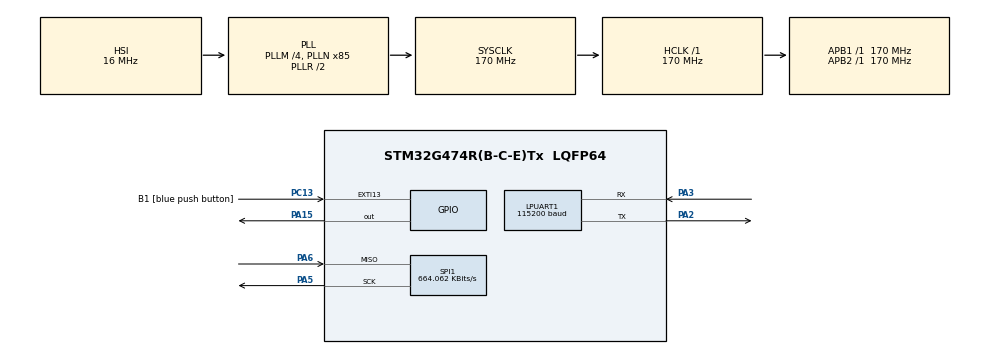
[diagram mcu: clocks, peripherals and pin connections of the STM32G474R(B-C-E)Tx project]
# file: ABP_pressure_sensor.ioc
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LPUART1.BaudRate=115200
Mcu.Family=STM32G4
Mcu.Name=STM32G474R(B-C-E)Tx
Mcu.Package=LQFP64
NVIC.EXTI15_10_IRQn=true\:0\:0\:false\:false\:true\:true\:true\:true
NVIC.PriorityGroup=NVIC_PRIORITYGROUP_4
PA13.GPIO_Label=T_SWDIO
PA13.Signal=SYS_JTMS-SWDIO
PA14.GPIO_Label=T_SWCLK
PA14.Signal=SYS_JTCK-SWCLK
PA15.Signal=GPIO_Output
PA2.Mode=Asynchronous
PA2.Signal=LPUART1_TX
PA3.Mode=Asynchronous
PA3.Signal=LPUART1_RX
PA5.Mode=RX_Only_Simplex_Unidirect_Master
PA5.Signal=SPI1_SCK
PA6.Mode=RX_Only_Simplex_Unidirect_Master
PA6.Signal=SPI1_MISO
PC13.GPIO_Label=B1 [blue push button]
PC13.Signal=GPXTI13
PC14-OSC32_IN.Signal=RCC_OSC32_IN
PC15-OSC32_OUT.Signal=RCC_OSC32_OUT
PF0-OSC_IN.Signal=RCC_OSC_IN
PF1-OSC_OUT.Signal=RCC_OSC_OUT
ProjectManager.HeapSize=0x200
ProjectManager.StackSize=0x400
ProjectManager.TargetToolchain=STM32CubeIDE
RCC.ADC12Freq_Value=170000000
RCC.ADC345Freq_Value=170000000
RCC.AHBFreq_Value=170000000
RCC.APB1Freq_Value=170000000
RCC.APB1TimFreq_Value=170000000
RCC.APB2Freq_Value=170000000
RCC.APB2TimFreq_Value=170000000
RCC.CortexFreq_Value=170000000
RCC.EXTERNAL_CLOCK_VALUE=12288000
RCC.HCLKFreq_Value=170000000
RCC.HSE_VALUE=24000000
RCC.HSI48_VALUE=48000000
RCC.HSI_VALUE=16000000
RCC.LSE_VALUE=32768
RCC.PLLM=RCC_PLLM_DIV4
RCC.PLLN=85
RCC.RTCClockSelection=RCC_RTCCLKSOURCE_LSE
RCC.SYSCLKFreq_VALUE=170000000
RCC.SYSCLKSource=RCC_SYSCLKSOURCE_PLLCLK
RCC.USBFreq_Value=170000000
RCC.VCOOutputFreq_Value=340000000
SPI1.BaudRatePrescaler=SPI_BAUDRATEPRESCALER_256
SPI1.CalculateBaudRate=664.062 KBits/s
SPI1.DataSize=SPI_DATASIZE_8BIT
SPI1.Direction=SPI_DIRECTION_2LINES_RXONLY
SPI1.Mode=SPI_MODE_MASTER
SPI1.NSSPMode=SPI_NSS_PULSE_DISABLE
SPI1.VirtualType=VM_MASTER
VP_SYS_VS_DBSignals.Mode=DisableDeadBatterySignals
board=NUCLEO-G474RE

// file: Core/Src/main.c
/* USER CODE BEGIN Header */
/**
  ******************************************************************************
  * @file           : main.c
  * @brief          : Main program body
  ******************************************************************************
  * @attention
  *
  * Copyright (c) 2024 STMicroelectronics.
  * All rights reserved.
  *
  * This software is licensed under terms that can be found in the LICENSE file
  * in the root directory of this software component.
  * If no LICENSE file comes with this software, it is provided AS-IS.
  *
  ******************************************************************************
  */
/* USER CODE END Header */
#include "main.h"

/* USER CODE BEGIN Includes */
#include <stdio.h>
#include <string.h> // Include for strlen()

/* USER CODE END Includes */

UART_HandleTypeDef hlpuart1;

SPI_HandleTypeDef hspi1;

void SystemClock_Config(void);
static void MX_GPIO_Init(void);
static void MX_SPI1_Init(void);
static void MX_LPUART1_UART_Init(void);
/* USER CODE BEGIN PFP */

double TF(uint16_t data); //transfer function

/* USER CODE END PFP */

/* USER CODE BEGIN 0 */

double pressure_psi = 0.0; //pressure value in psi
double pressure_bar = 0.0; //pressure value in bar
uint8_t sensor_data[2]; //SPI output from sensor data
uint16_t data = 0x0000; //16 bit data

int fputc(int ch, FILE *f)
{
    HAL_UART_Transmit(&hlpuart1, (unsigned char *)&ch, 1, 100);
    return ch;
}

/* USER CODE END 0 */

int main(void)
{

  /* MCU Configuration--------------------------------------------------------*/

  /* Reset of all peripherals, Initializes the Flash interface and the Systick. */
  HAL_Init();

  /* Configure the system clock */
  SystemClock_Config();

  /* Initialize all configured peripherals */
  MX_GPIO_Init();
  MX_SPI1_Init();
  MX_LPUART1_UART_Init();
  /* USER CODE BEGIN 2 */
  HAL_Delay(1000); // Delay for sensor stability

  char buff1[100];
  char buff2[100];

  sprintf(buff1,"Pressure Sensor Demo: ABPDANV150PGSA3, 0 to 150 psi, 10 per to 90 per of total value, No tempurature\n");
  HAL_UART_Transmit(&hlpuart1, (uint8_t *)buff1, strlen(buff1), HAL_MAX_DELAY); //print loaded string

  HAL_GPIO_WritePin(GPIOA, GPIO_PIN_15, GPIO_PIN_SET); // Set SS line HIGH

  sensor_data[0] = 0x00;
  sensor_data[1] = 0x00;

  /* USER CODE END 2 */

  /* Infinite loop */
  while (1)
  {

    /* USER CODE BEGIN 3 */

	  HAL_Delay(10);
	  HAL_GPIO_WritePin(GPIOA, GPIO_PIN_15, GPIO_PIN_RESET); // set SS Low
	  //HAL_SPI_Transmit(&hspi1, 0x00, 1, HAL_MAX_DELAY);      // send Read Command
	  //HAL_GPIO_WritePin(GPIOB, GPIO_PIN_6, GPIO_PIN_SET);   // set SS High
	  //HAL_Delay(10);
	  //printf("checkpoint 1\n");
	  //HAL_GPIO_WritePin(GPIOA, GPIO_PIN_15, GPIO_PIN_RESET); // set SS Low
	  HAL_SPI_Receive(&hspi1, sensor_data, 2, HAL_MAX_DELAY); // Receive sensor data
	  //printf("checkpoint 2\n");
	  HAL_GPIO_WritePin(GPIOA, GPIO_PIN_15, GPIO_PIN_SET); // set SS High
	  //printf("checkpoint 3\n");

	  data = sensor_data[0]*256 + sensor_data[1];

	  pressure_psi = TF(data);
	  pressure_bar = pressure_psi*0.0689476;

	  sprintf(buff2,"data[0]=%02X,data[1]=%02X,sensor_output=%02X, Pressure= %lf psi,Pressure(bar)= %lf bar\n\n",sensor_data[0],sensor_data[1],data,pressure_psi,pressure_bar);

	  HAL_UART_Transmit(&hlpuart1, (uint8_t *)buff2, strlen(buff2), HAL_MAX_DELAY); //print loaded string

  }
  /* USER CODE END 3 */
}

void SystemClock_Config(void)
{
  RCC_OscInitTypeDef RCC_OscInitStruct = {0};
  RCC_ClkInitTypeDef RCC_ClkInitStruct = {0};

  /** Configure the main internal regulator output voltage
  */
  HAL_PWREx_ControlVoltageScaling(PWR_REGULATOR_VOLTAGE_SCALE1_BOOST);

  /** Initializes the RCC Oscillators according to the specified parameters
  * in the RCC_OscInitTypeDef structure.
  */
  RCC_OscInitStruct.OscillatorType = RCC_OSCILLATORTYPE_HSI;
  RCC_OscInitStruct.HSIState = RCC_HSI_ON;
  RCC_OscInitStruct.HSICalibrationValue = RCC_HSICALIBRATION_DEFAULT;
  RCC_OscInitStruct.PLL.PLLState = RCC_PLL_ON;
  RCC_OscInitStruct.PLL.PLLSource = RCC_PLLSOURCE_HSI;
  RCC_OscInitStruct.PLL.PLLM = RCC_PLLM_DIV4;
  RCC_OscInitStruct.PLL.PLLN = 85;
  RCC_OscInitStruct.PLL.PLLP = RCC_PLLP_DIV2;
  RCC_OscInitStruct.PLL.PLLQ = RCC_PLLQ_DIV2;
  RCC_OscInitStruct.PLL.PLLR = RCC_PLLR_DIV2;
  if (HAL_RCC_OscConfig(&RCC_OscInitStruct) != HAL_OK)
  {
    Error_Handler();
  }

  /** Initializes the CPU, AHB and APB buses clocks
  */
  RCC_ClkInitStruct.ClockType = RCC_CLOCKTYPE_HCLK|RCC_CLOCKTYPE_SYSCLK
                              |RCC_CLOCKTYPE_PCLK1|RCC_CLOCKTYPE_PCLK2;
  RCC_ClkInitStruct.SYSCLKSource = RCC_SYSCLKSOURCE_PLLCLK;
  RCC_ClkInitStruct.AHBCLKDivider = RCC_SYSCLK_DIV1;
  RCC_ClkInitStruct.APB1CLKDivider = RCC_HCLK_DIV1;
  RCC_ClkInitStruct.APB2CLKDivider = RCC_HCLK_DIV1;

  if (HAL_RCC_ClockConfig(&RCC_ClkInitStruct, FLASH_LATENCY_4) != HAL_OK)
  {
    Error_Handler();
  }
}

static void MX_LPUART1_UART_Init(void)
{

  hlpuart1.Instance = LPUART1;
  hlpuart1.Init.BaudRate = 115200;
  hlpuart1.Init.WordLength = UART_WORDLENGTH_8B;
  hlpuart1.Init.StopBits = UART_STOPBITS_1;
  hlpuart1.Init.Parity = UART_PARITY_NONE;
  hlpuart1.Init.Mode = UART_MODE_TX_RX;
  hlpuart1.Init.HwFlowCtl = UART_HWCONTROL_NONE;
  hlpuart1.Init.OneBitSampling = UART_ONE_BIT_SAMPLE_DISABLE;
  hlpuart1.Init.ClockPrescaler = UART_PRESCALER_DIV1;
  hlpuart1.AdvancedInit.AdvFeatureInit = UART_ADVFEATURE_NO_INIT;
  if (HAL_UART_Init(&hlpuart1) != HAL_OK)
  {
    Error_Handler();
  }
  if (HAL_UARTEx_SetTxFifoThreshold(&hlpuart1, UART_TXFIFO_THRESHOLD_1_8) != HAL_OK)
  {
    Error_Handler();
  }
  if (HAL_UARTEx_SetRxFifoThreshold(&hlpuart1, UART_RXFIFO_THRESHOLD_1_8) != HAL_OK)
  {
    Error_Handler();
  }
  if (HAL_UARTEx_DisableFifoMode(&hlpuart1) != HAL_OK)
  {
    Error_Handler();
  }

}

static void MX_SPI1_Init(void)
{

  /* SPI1 parameter configuration*/
  hspi1.Instance = SPI1;
  hspi1.Init.Mode = SPI_MODE_MASTER;
  hspi1.Init.Direction = SPI_DIRECTION_2LINES_RXONLY;
  hspi1.Init.DataSize = SPI_DATASIZE_8BIT;
  hspi1.Init.CLKPolarity = SPI_POLARITY_LOW;
  hspi1.Init.CLKPhase = SPI_PHASE_1EDGE;
  hspi1.Init.NSS = SPI_NSS_SOFT;
  hspi1.Init.BaudRatePrescaler = SPI_BAUDRATEPRESCALER_256;
  hspi1.Init.FirstBit = SPI_FIRSTBIT_MSB;
  hspi1.Init.TIMode = SPI_TIMODE_DISABLE;
  hspi1.Init.CRCCalculation = SPI_CRCCALCULATION_DISABLE;
  hspi1.Init.CRCPolynomial = 7;
  hspi1.Init.CRCLength = SPI_CRC_LENGTH_DATASIZE;
  hspi1.Init.NSSPMode = SPI_NSS_PULSE_DISABLE;
  if (HAL_SPI_Init(&hspi1) != HAL_OK)
  {
    Error_Handler();
  }

}

static void MX_GPIO_Init(void)
{
  GPIO_InitTypeDef GPIO_InitStruct = {0};

  /* GPIO Ports Clock Enable */
  __HAL_RCC_GPIOC_CLK_ENABLE();
  __HAL_RCC_GPIOF_CLK_ENABLE();
  __HAL_RCC_GPIOA_CLK_ENABLE();

  /*Configure GPIO pin Output Level */
  HAL_GPIO_WritePin(GPIOA, GPIO_PIN_15, GPIO_PIN_RESET);

  /*Configure GPIO pin : B1_Pin */
  GPIO_InitStruct.Pin = B1_Pin;
  GPIO_InitStruct.Mode = GPIO_MODE_IT_RISING;
  GPIO_InitStruct.Pull = GPIO_NOPULL;
  HAL_GPIO_Init(B1_GPIO_Port, &GPIO_InitStruct);

  /*Configure GPIO pin : PA15 */
  GPIO_InitStruct.Pin = GPIO_PIN_15;
  GPIO_InitStruct.Mode = GPIO_MODE_OUTPUT_PP;
  GPIO_InitStruct.Pull = GPIO_NOPULL;
  GPIO_InitStruct.Speed = GPIO_SPEED_FREQ_LOW;
  HAL_GPIO_Init(GPIOA, &GPIO_InitStruct);

  /* EXTI interrupt init*/
  HAL_NVIC_SetPriority(EXTI15_10_IRQn, 0, 0);
  HAL_NVIC_EnableIRQ(EXTI15_10_IRQn);

}

/* USER CODE BEGIN 4 */

double TF(uint16_t data)
{
	double _data = (double)data;
	if (_data <= 16384 * 0.1) return 0.0;
	else if (_data >= 16384 * 0.9) return 150.0;
	else return ((_data - 1638)*0.0114443);
}

/* USER CODE END 4 */

void Error_Handler(void)
{
  __disable_irq();
  while (1)
  {
  }
}
